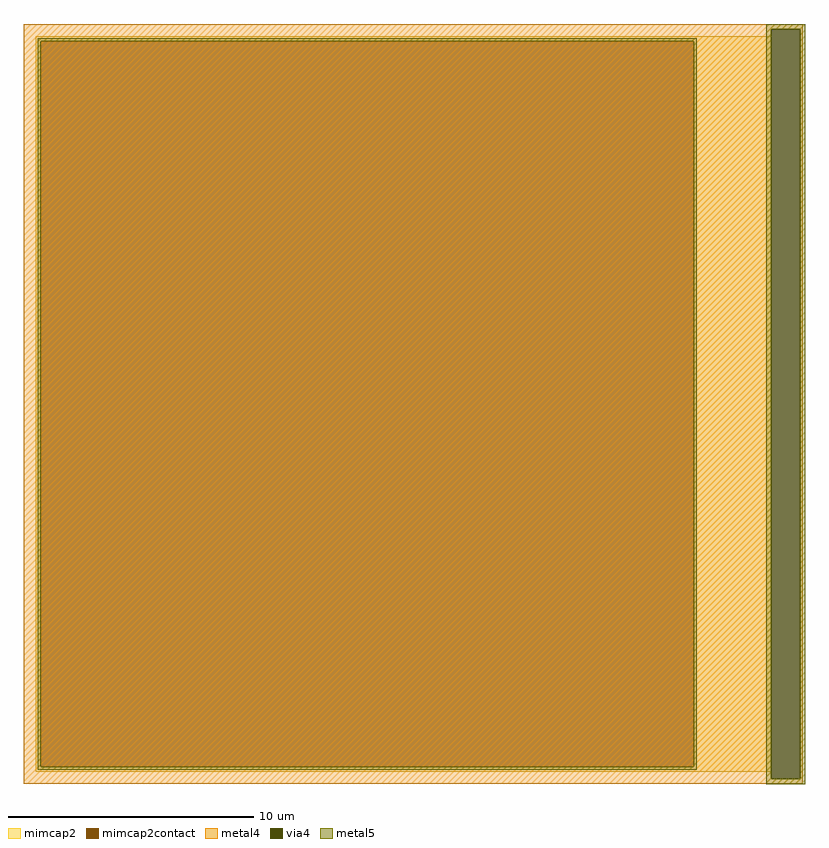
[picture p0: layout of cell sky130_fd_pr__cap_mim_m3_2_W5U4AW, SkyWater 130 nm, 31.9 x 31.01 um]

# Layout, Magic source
magic
tech sky130A
magscale 1 2
<< metal4 >>
rect -3179 3059 3179 3100
rect -3179 -3059 2923 3059
rect 3159 -3059 3179 3059
rect -3179 -3100 3179 -3059
<< via4 >>
rect 2923 -3059 3159 3059
<< mimcap2 >>
rect -3079 2960 2921 3000
rect -3079 -2960 -3039 2960
rect 2289 -2960 2921 2960
rect -3079 -3000 2921 -2960
<< mimcap2contact >>
rect -3039 -2960 2289 2960
<< metal5 >>
rect 2881 3059 3201 3101
rect -3063 2960 2313 2984
rect -3063 -2960 -3039 2960
rect 2289 -2960 2313 2960
rect -3063 -2984 2313 -2960
rect 2881 -3059 2923 3059
rect 3159 -3059 3201 3059
rect 2881 -3101 3201 -3059
<< properties >>
string gencell sky130_fd_pr__cap_mim_m3_2
string FIXED_BBOX -3179 -3100 3021 3100
string parameters w 30.00 l 30.00 val 920.4 carea 1.00 cperi 0.17 nx 1 ny 1 dummy 0 square 0 lmin 2.00 wmin 2.00 lmax 30.0 wmax 30.0 dc 0 bconnect 1 tconnect 1 ccov +90
string library sky130
<< end >>
